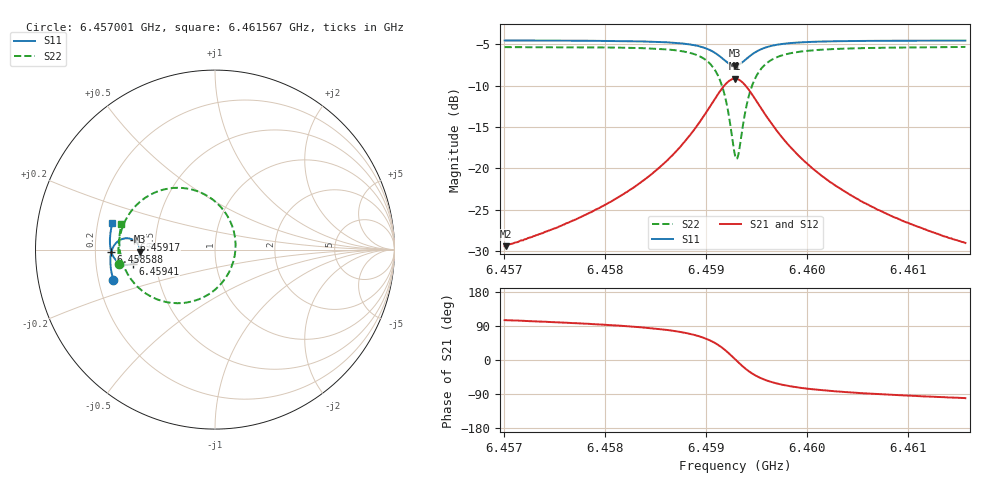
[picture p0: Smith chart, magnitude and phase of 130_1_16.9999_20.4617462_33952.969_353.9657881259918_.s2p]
#  HZ  S  RI  R  50.00
! Rohde & Schwarz Vector Network Analyzer
! Rohde-Schwarz,ZNB20-2Port,1311601062101988,3.16
! Created: UTC 3/20/2024, 10:57:54 PM
! freq[Hz]  re:S11  im:S11  re:S21  im:S21  re:S12  im:S12  re:S22  im:S22
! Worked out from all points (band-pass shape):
!   401 points, 6.457001 GHz to 6.461567 GHz, reference 50 ohm
!   highest |S21| = -9.17 dB at 6.459284 GHz (marker M1); lowest = -29.4 dB at 6.457013 GHz (marker M2)
!   |S21| within 3 dB of the highest: 6.459056 GHz to 6.459512 GHz (456.8 kHz wide, 0.00707 % of centre)
!   lowest |S11| = -7.6 dB at 6.459284 GHz (marker M3), VSWR 2.43, Z = 20.6 - j0.567 ohm
!   |S11| at or under -10 dB: nowhere
!   |S22| runs from -18.9 to -5.3 dB; largest |S21 - S12| = 0.014
!   S11 on the Smith chart (normalised r, x): 6.457001 GHz: 0.26, -0.14; 6.458588 GHz: 0.27, -0.01; 6.45917 GHz: 0.38, +0.05; 6.45941 GHz: 0.37, -0.07; 6.461567 GHz: 0.26, +0.12
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6.4570015e9  -0.5666 -0.1717  -0.00885 0.0326  -0.00717 0.0326  -0.5333 -0.0826
6.4570129e9  -0.5669 -0.1708  -0.00878 0.0327  -0.00709 0.0329  -0.5335 -0.0814
6.4577662e9  -0.5805 -0.1046  -0.00566 0.0508  -0.00298 0.0501  -0.5382 0.00719
6.4581885e9  -0.5835 -0.0623  0.00041 0.0704  0.00365 0.069  -0.5298 0.0747
6.458531e9  -0.5796 -0.0209  0.0144 0.0994  0.0184 0.0967  -0.5041 0.1522
6.458588e9  -0.5777 -0.013  0.0187 0.1064  0.0229 0.1032  -0.4959 0.1688
6.4587935e9  -0.5646 0.0191  0.0465 0.1389  0.0507 0.1341  -0.4438 0.2418
6.4589419e9  -0.5417 0.0455  0.0924 0.1697  0.0954 0.163  -0.3597 0.3061
6.4590789e9  -0.4974 0.063  0.1802 0.1863  0.181 0.1788  -0.1993 0.3443
6.4591702e9  -0.4523 0.0524  0.2707 0.1544  0.2709 0.1486  -0.0321 0.2926
6.4592387e9  -0.4231 0.0201  0.3313 0.0818  0.3335 0.0765  0.083 0.1619
6.4592843e9  -0.4163 -0.0114  0.3475 0.0135  0.3513 0.0065  0.1146 0.0341
6.4593186e9  -0.4203 -0.0352  0.3414 -0.0393  0.3454 -0.0484  0.1025 -0.0656
6.4593642e9  -0.4361 -0.0615  0.3125 -0.0994  0.3147 -0.1113  0.0437 -0.1786
6.4594099e9  -0.4583 -0.0779  0.2702 -0.1404  0.2693 -0.1537  -0.0418 -0.2532
6.4595012e9  -0.502 -0.0849  0.1849 -0.1716  0.1789 -0.1831  -0.2112 -0.2987
6.4596496e9  -0.5462 -0.0645  0.0968 -0.1575  0.0883 -0.1637  -0.379 -0.2487
6.4598094e9  -0.5679 -0.0368  0.0517 -0.1293  0.0441 -0.1322  -0.4594 -0.1762
6.4600491e9  -0.5808 -0.00131  0.0225 -0.0977  0.0166 -0.0983  -0.5072 -0.0937
6.4603915e9  -0.5854 0.0395  0.00648 -0.0708  0.00226 -0.0703  -0.5288 -0.0145
6.4608138e9  -0.5838 0.0821  -0.00135 -0.0522  -0.00421 -0.0514  -0.5329 0.0534
6.4615672e9  -0.5719 0.1489  -0.00657 -0.0347  -0.00823 -0.0338  -0.5218 0.1426
